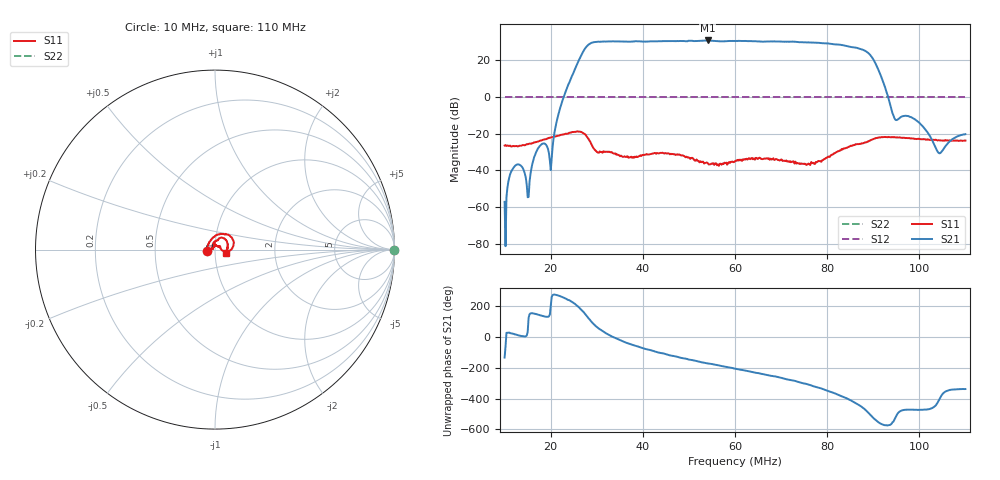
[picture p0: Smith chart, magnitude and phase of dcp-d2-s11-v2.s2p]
! Anritsu VNA Master:  Model: MS2034B/10/19/501
! SN:  1337062
! /bd0/ovro-jan-2016/dcp-d2-s11-v2.s2p
! Existing Calibration Information:
! TYPE:  Current Settings,  Active Cal Settings
! TIME:  01/09/2016 02:15:56 PM,  01/09/2016 12:40:35 PM
! INTERNAL TEMP:  41.0 C,  41.8 C
! # POINTS:  500,  500
! START FREQ:  10.000 MHz,  10.000 MHz
! STOP FREQ:  110.000 MHz,  110.000 MHz
! SOURCE POWER:  Low,  Low
! IFBW:  100 Hz,  100 Hz
! AVG FACTOR:  3 ,  3
! REF PLANE 1:  2.2245 m,  2.2245 m
! REF PLANE 2:  0 mm,  0 mm
! CAL TYPE:  1P2P S11,S21,  1P2P S11,S21
! CAL METHOD:  SOLT,  SOLT
! CAL LINE TYPE:  Coax,  Coax
! DUT PORT 1:  K-Conn(M),  K-Conn(M)
! DUT PORT 2:  N-Conn(M),  N-Conn(M)
! CAL STATUS:  OK: Accuracy High,  --
# GHZ S DB R 50.0
! FREQ.GHZ  S11DB  S11A  S21DB  S21A  S12DB  S12A  S22DB  S22A
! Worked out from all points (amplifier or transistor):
!   500 points, 10 MHz to 110 MHz, reference 50 ohm
!   highest |S21| = 30.9 dB at 54.09 MHz (marker M1)
!   |S21| within 3 dB of that: 27.91 MHz to 84.09 MHz (56.18 MHz wide, 100 % of centre)
!   unconditionally stable (mu >= 1): nowhere
!   at 26.63 MHz: K = 6.95, MSG = 11.4 dB, |S12| = 0.0 dB
!   at 60.1 MHz: K = 16.76, MSG = 15.3 dB, |S12| = 0.0 dB
!   at 110 MHz: K = 0.00, MSG = -10.1 dB, |S12| = 0.0 dB
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0.01  -26.43 -170.2  -57.13 -133.2  0.00 0.0  0.00 0.0
0.02342685  -20.04 59.6  4.19 -112.5  0.00 0.0  0.00 0.0
0.02563126  -18.77 36.6  17.39 -153.6  0.00 0.0  0.00 0.0
0.02683367  -19.34 16.7  23.78 172.2  0.00 0.0  0.00 0.0
0.02803607  -22.18 -6.1  28.17 129.2  0.00 0.0  0.00 0.0
0.02943888  -28.31 -5.7  29.94 81.1  0.00 0.0  0.00 0.0
0.03124249  -30.39 27.3  30.20 39.1  0.00 0.0  0.00 0.0
0.03324649  -30.06 37.7  30.32 4.2  0.00 0.0  0.00 0.0
0.03825651  -32.53 74.3  30.37 -55.3  0.00 0.0  0.00 0.0
0.04346693  -30.72 95.9  30.43 -101.0  0.00 0.0  0.00 0.0
0.04847695  -31.78 99.2  30.56 -136.5  0.00 0.0  0.00 0.0
0.05408818  -36.08 128.0  30.85 -171.6  0.00 0.0  0.00 0.0
0.0601002  -34.75 173.7  30.52 154.1  0.00 0.0  0.00 0.0
0.06951904  -34.40 166.0  30.34 98.9  0.00 0.0  0.00 0.0
0.07673347  -36.08 144.0  29.68 43.3  0.00 0.0  0.00 0.0
0.08194389  -30.13 113.6  28.68 -9.4  0.00 0.0  0.00 0.0
0.0861523  -25.69 80.6  26.94 -68.8  0.00 0.0  0.00 0.0
0.08775551  -25.24 73.8  25.77 -99.5  0.00 0.0  0.00 0.0
0.08935872  -23.62 70.2  22.90 -145.2  0.00 0.0  0.00 0.0
0.09096192  -22.17 58.3  15.76 169.6  0.00 0.0  0.00 0.0
0.09336673  -21.71 41.2  -1.22 147.7  0.00 0.0  0.00 0.0
0.11  -23.72 -17.8  -20.25 22.2  0.00 0.0  0.00 0.0
